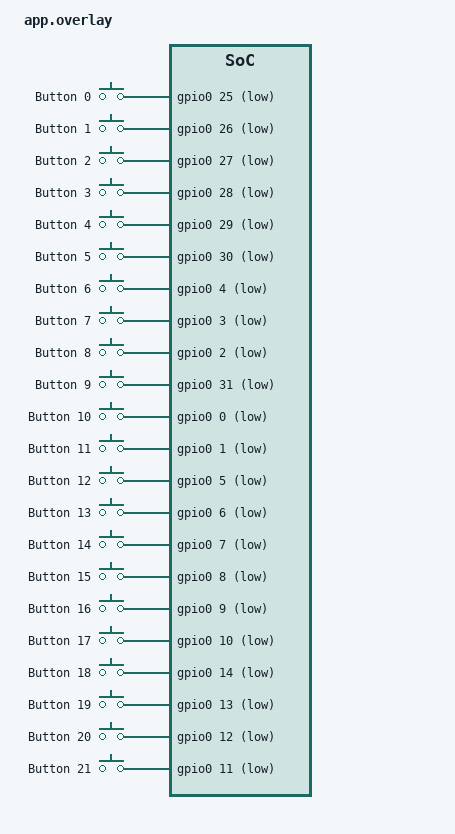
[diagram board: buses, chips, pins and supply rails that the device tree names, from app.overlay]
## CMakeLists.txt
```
cmake_minimum_required(VERSION 3.20.0)

# Option to choose keyboard side (left or right)

find_package(Zephyr REQUIRED HINTS $ENV{ZEPHYR_BASE})

project(blinky)

target_sources(app PRIVATE src/main.c)
```

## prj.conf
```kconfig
# --- Enable gpio ---
CONFIG_GPIO=y

# --- Use internal clock ---
CONFIG_CLOCK_CONTROL_NRF_K32SRC_RC=y

# --- Logging ---
# To enable logging, keep these set to 'n'
CONFIG_SERIAL=n
CONFIG_LOG_BACKEND_UART=n
CONFIG_UART_CONSOLE=n
# To enable logging, set these to 'y'
CONFIG_LOG=y
CONFIG_LOG_MODE_IMMEDIATE=y
CONFIG_USE_SEGGER_RTT=y
CONFIG_LOG_BACKEND_RTT=y
CONFIG_LOG_PROCESS_THREAD=n



CONFIG_HWINFO=y
```

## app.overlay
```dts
/ {
    aliases {
        sw0 = &button0;
        sw1 = &button1;
        sw2 = &button2;
        sw3 = &button3;
        sw4 = &button4;
        sw5 = &button5;
        sw6 = &button6;
        sw7 = &button7;
        sw8 = &button8;
        sw9 = &button9;
        sw10 = &button10;
        sw11 = &button11;
        sw12 = &button12;
        sw13 = &button13;
        sw14 = &button14;
        sw15 = &button15;
        sw16 = &button16;
        sw17 = &button17;
        sw18 = &button18;
        sw19 = &button19;
        sw20 = &button20;
        sw21 = &button21;
    };

    buttons {
        compatible = "gpio-keys";

        // First row, left to right
        button0: button_0 {
            gpios = <&gpio0 25 (GPIO_ACTIVE_LOW | GPIO_PULL_UP)>;
            label = "Button 0";
        };
        button1: button_1 {
            gpios = <&gpio0 26 (GPIO_ACTIVE_LOW | GPIO_PULL_UP)>;
            label = "Button 1";
        };
        button2: button_2 {
            gpios = <&gpio0 27 (GPIO_ACTIVE_LOW | GPIO_PULL_UP)>;
            label = "Button 2";
        };
        button3: button_3 {
            gpios = <&gpio0 28 (GPIO_ACTIVE_LOW | GPIO_PULL_UP)>;
            label = "Button 3";
        };
        button4: button_4 {
            gpios = <&gpio0 29 (GPIO_ACTIVE_LOW | GPIO_PULL_UP)>;
            label = "Button 4";
        };
        button5: button_5 {
            gpios = <&gpio0 30 (GPIO_ACTIVE_LOW | GPIO_PULL_UP)>;
            label = "Button 5";
        };

        // Second row, left to right
        button6: button_6 {
            gpios = <&gpio0 4 (GPIO_ACTIVE_LOW | GPIO_PULL_UP)>;
            label = "Button 6";
        };
        button7: button_7 {
            gpios = <&gpio0 3 (GPIO_ACTIVE_LOW | GPIO_PULL_UP)>;
            label = "Button 7";
        };
        button8: button_8 {
            gpios = <&gpio0 2 (GPIO_ACTIVE_LOW | GPIO_PULL_UP)>;
            label = "Button 8";
        };
        button9: button_9 {
            gpios = <&gpio0 31 (GPIO_ACTIVE_LOW | GPIO_PULL_UP)>;
            label = "Button 9";
        };
        button10: button_10 {
            gpios = <&gpio0 0 (GPIO_ACTIVE_LOW | GPIO_PULL_UP)>;
            label = "Button 10";
        };
        button11: button_11 {
            gpios = <&gpio0 1 (GPIO_ACTIVE_LOW | GPIO_PULL_UP)>;
            label = "Button 11";
        };

        // Third row, left to right
        button12: button_12 {
            gpios = <&gpio0 5 (GPIO_ACTIVE_LOW | GPIO_PULL_UP)>;
            label = "Button 12";
        };
        button13: button_13 {
            gpios = <&gpio0 6 (GPIO_ACTIVE_LOW | GPIO_PULL_UP)>;
            label = "Button 13";
        };
        button14: button_14 {
            gpios = <&gpio0 7 (GPIO_ACTIVE_LOW | GPIO_PULL_UP)>;
            label = "Button 14";
        };
        button15: button_15 {
            gpios = <&gpio0 8 (GPIO_ACTIVE_LOW | GPIO_PULL_UP)>;
            label = "Button 15";
        };
        button16: button_16 {
            gpios = <&gpio0 9 (GPIO_ACTIVE_LOW | GPIO_PULL_UP)>;
            label = "Button 16";
        };
        button17: button_17 {
            gpios = <&gpio0 10 (GPIO_ACTIVE_LOW | GPIO_PULL_UP)>;
            label = "Button 17";
        };

        // Fourth row, left to right
        button18: button_18 {
            gpios = <&gpio0 14 (GPIO_ACTIVE_LOW | GPIO_PULL_UP)>;
            label = "Button 18";
        };
        button19: button_19 {
            gpios = <&gpio0 13 (GPIO_ACTIVE_LOW | GPIO_PULL_UP)>;
            label = "Button 19";
        };
        button20: button_20 {
            gpios = <&gpio0 12 (GPIO_ACTIVE_LOW | GPIO_PULL_UP)>;
            label = "Button 20";
        };
        button21: button_21 {
            gpios = <&gpio0 11 (GPIO_ACTIVE_LOW | GPIO_PULL_UP)>;
            label = "Button 21";
        };

    };
};

&uicr {
    nfct-pins-as-gpios;
    /delete-property/ gpio-as-nreset;
};

&gpiote {
    status = "okay";
};

&gpio0 {
    sense-edge-mask = < 0xFE007FFF >;
    status = "okay";
};

&adc {
    status = "disabled";
};

&nfct {
    status = "disabled";
};

&uart0 {
    status = "disabled";
};

&i2c0 {
    status = "disabled";
};

&i2c1 {
    status = "disabled";
};

&pwm0 {
    status = "disabled";
};

&spi0 {
    status = "disabled";
};

&spi1 {
    status = "disabled";
};

&spi2 {
    status = "disabled";
};
```

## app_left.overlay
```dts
/ {
    aliases {
        sw0 = &button0;
        sw1 = &button1;
        sw2 = &button2;
        sw3 = &button3;
        sw4 = &button4;
        sw5 = &button5;
        sw6 = &button6;
        sw7 = &button7;
        sw8 = &button8;
        sw9 = &button9;
        sw10 = &button10;
        sw11 = &button11;
        sw12 = &button12;
        sw13 = &button13;
        sw14 = &button14;
        sw15 = &button15;
        sw16 = &button16;
        sw17 = &button17;
        sw18 = &button18;
        sw19 = &button19;
        sw20 = &button20;
        sw21 = &button21;
    };

    buttons {
        compatible = "gpio-keys";

        // First row, left to right
        button0: button_0 {
            gpios = <&gpio0 30 (GPIO_ACTIVE_LOW | GPIO_PULL_UP)>;
            label = "Button 0";
        };
        button1: button_1 {
            gpios = <&gpio0 29 (GPIO_ACTIVE_LOW | GPIO_PULL_UP)>;
            label = "Button 1";
        };
        button2: button_2 {
            gpios = <&gpio0 28 (GPIO_ACTIVE_LOW | GPIO_PULL_UP)>;
            label = "Button 2";
        };
        button3: button_3 {
            gpios = <&gpio0 27 (GPIO_ACTIVE_LOW | GPIO_PULL_UP)>;
            label = "Button 3";
        };
        button4: button_4 {
            gpios = <&gpio0 26 (GPIO_ACTIVE_LOW | GPIO_PULL_UP)>;
            label = "Button 4";
        };
        button5: button_5 {
            gpios = <&gpio0 25 (GPIO_ACTIVE_LOW | GPIO_PULL_UP)>;
            label = "Button 5";
        };

        // Second row, left to right
        button6: button_6 {
            gpios = <&gpio0 1 (GPIO_ACTIVE_LOW | GPIO_PULL_UP)>;
            label = "Button 6";
        };
        button7: button_7 {
            gpios = <&gpio0 0 (GPIO_ACTIVE_LOW | GPIO_PULL_UP)>;
            label = "Button 7";
        };
        button8: button_8 {
            gpios = <&gpio0 31 (GPIO_ACTIVE_LOW | GPIO_PULL_UP)>;
            label = "Button 8";
        };
        button9: button_9 {
            gpios = <&gpio0 2 (GPIO_ACTIVE_LOW | GPIO_PULL_UP)>;
            label = "Button 9";
        };
        button10: button_10 {
            gpios = <&gpio0 3 (GPIO_ACTIVE_LOW | GPIO_PULL_UP)>;
            label = "Button 10";
        };
        button11: button_11 {
            gpios = <&gpio0 4 (GPIO_ACTIVE_LOW | GPIO_PULL_UP)>;
            label = "Button 11";
        };

        // Third row, left to right
        button12: button_12 {
            gpios = <&gpio0 10 (GPIO_ACTIVE_LOW | GPIO_PULL_UP)>;
            label = "Button 12";
        };
        button13: button_13 {
            gpios = <&gpio0 9 (GPIO_ACTIVE_LOW | GPIO_PULL_UP)>;
            label = "Button 13";
        };
        button14: button_14 {
            gpios = <&gpio0 8 (GPIO_ACTIVE_LOW | GPIO_PULL_UP)>;
            label = "Button 14";
        };
        button15: button_15 {
            gpios = <&gpio0 7 (GPIO_ACTIVE_LOW | GPIO_PULL_UP)>;
            label = "Button 15";
        };
        button16: button_16 {
            gpios = <&gpio0 6 (GPIO_ACTIVE_LOW | GPIO_PULL_UP)>;
            label = "Button 16";
        };
        button17: button_17 {
            gpios = <&gpio0 5 (GPIO_ACTIVE_LOW | GPIO_PULL_UP)>;
            label = "Button 17";
        };

        // Fourth row, left to right
        button18: button_18 {
            gpios = <&gpio0 11 (GPIO_ACTIVE_LOW | GPIO_PULL_UP)>;
            label = "Button 18";
        };
        button19: button_19 {
            gpios = <&gpio0 12 (GPIO_ACTIVE_LOW | GPIO_PULL_UP)>;
            label = "Button 19";
        };
        button20: button_20 {
            gpios = <&gpio0 13 (GPIO_ACTIVE_LOW | GPIO_PULL_UP)>;
            label = "Button 20";
        };
        button21: button_21 {
            gpios = <&gpio0 14 (GPIO_ACTIVE_LOW | GPIO_PULL_UP)>;
            label = "Button 21";
        };

    };
};

&uicr {
    nfct-pins-as-gpios;
    /delete-property/ gpio-as-nreset;
};

// &gpiote {
//     status = "okay";
// };

&gpio0 {
    // sense-edge-mask = < 0xFFFFFFFF >;
    status = "okay";
};

&adc {
    status = "disabled";
};

&nfct {
    status = "disabled";
};

&uart0 {
    status = "disabled";
};

&i2c0 {
    status = "disabled";
};

&i2c1 {
    status = "disabled";
};

&pwm0 {
    status = "disabled";
};

&spi0 {
    status = "disabled";
};

&spi1 {
    status = "disabled";
};

&spi2 {
    status = "disabled";
};
```

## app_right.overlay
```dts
/ {
    aliases {
        sw0 = &button0;
        sw1 = &button1;
        sw2 = &button2;
        sw3 = &button3;
        sw4 = &button4;
        sw5 = &button5;
        sw6 = &button6;
        sw7 = &button7;
        sw8 = &button8;
        sw9 = &button9;
        sw10 = &button10;
        sw11 = &button11;
        sw12 = &button12;
        sw13 = &button13;
        sw14 = &button14;
        sw15 = &button15;
        sw16 = &button16;
        sw17 = &button17;
        sw18 = &button18;
        sw19 = &button19;
        sw20 = &button20;
        sw21 = &button21;
    };

        buttons {
        compatible = "gpio-keys";

        // First row, left to right
        button0: button_0 {
            gpios = <&gpio0 15 (GPIO_ACTIVE_LOW | GPIO_PULL_UP)>;
            label = "Button 0";
        };
        button1: button_1 {
            gpios = <&gpio0 16 (GPIO_ACTIVE_LOW | GPIO_PULL_UP)>;
            label = "Button 1";
        };
        button2: button_2 {
            gpios = <&gpio0 17 (GPIO_ACTIVE_LOW | GPIO_PULL_UP)>;
            label = "Button 2";
        };
        button3: button_3 {
            gpios = <&gpio0 18 (GPIO_ACTIVE_LOW | GPIO_PULL_UP)>;
            label = "Button 3";
        };
        button4: button_4 {
            gpios = <&gpio0 19 (GPIO_ACTIVE_LOW | GPIO_PULL_UP)>;
            label = "Button 4";
        };
        button5: button_5 {
            gpios = <&gpio0 20 (GPIO_ACTIVE_LOW | GPIO_PULL_UP)>;
            label = "Button 5";
        };

        // Second row, left to right
        button6: button_6 {
            gpios = <&gpio0 9 (GPIO_ACTIVE_LOW | GPIO_PULL_UP)>;
            label = "Button 6";
        };
        button7: button_7 {
            gpios = <&gpio0 10 (GPIO_ACTIVE_LOW | GPIO_PULL_UP)>;
            label = "Button 7";
        };
        button8: button_8 {
            gpios = <&gpio0 14 (GPIO_ACTIVE_LOW | GPIO_PULL_UP)>;
            label = "Button 8";
        };
        button9: button_9 {
            gpios = <&gpio0 8 (GPIO_ACTIVE_LOW | GPIO_PULL_UP)>;
            label = "Button 9";
        };
        button10: button_10 {
            gpios = <&gpio0 7 (GPIO_ACTIVE_LOW | GPIO_PULL_UP)>;
            label = "Button 10";
        };
        button11: button_11 {
            gpios = <&gpio0 6 (GPIO_ACTIVE_LOW | GPIO_PULL_UP)>;
            label = "Button 11";
        };

        // Third row, left to right
        button12: button_12 {
            gpios = <&gpio0 0 (GPIO_ACTIVE_LOW | GPIO_PULL_UP)>;
            label = "Button 12";
        };
        button13: button_13 {
            gpios = <&gpio0 1 (GPIO_ACTIVE_LOW | GPIO_PULL_UP)>;
            label = "Button 13";
        };
        button14: button_14 {
            gpios = <&gpio0 2 (GPIO_ACTIVE_LOW | GPIO_PULL_UP)>;
            label = "Button 14";
        };
        button15: button_15 {
            gpios = <&gpio0 3 (GPIO_ACTIVE_LOW | GPIO_PULL_UP)>;
            label = "Button 15";
        };
        button16: button_16 {
            gpios = <&gpio0 4 (GPIO_ACTIVE_LOW | GPIO_PULL_UP)>;
            label = "Button 16";
        };
        button17: button_17 {
            gpios = <&gpio0 5 (GPIO_ACTIVE_LOW | GPIO_PULL_UP)>;
            label = "Button 17";
        };

        // Fourth row, left to right
        button18: button_18 {
            gpios = <&gpio0 31 (GPIO_ACTIVE_LOW | GPIO_PULL_UP)>;
            label = "Button 18";
        };
        button19: button_19 {
            gpios = <&gpio0 30 (GPIO_ACTIVE_LOW | GPIO_PULL_UP)>;
            label = "Button 19";
        };
        button20: button_20 {
            gpios = <&gpio0 29 (GPIO_ACTIVE_LOW | GPIO_PULL_UP)>;
            label = "Button 20";
        };
        button21: button_21 {
            gpios = <&gpio0 28 (GPIO_ACTIVE_LOW | GPIO_PULL_UP)>;
            label = "Button 21";
        };
    };
};

&uicr {
    nfct-pins-as-gpios;
    /delete-property/ gpio-as-nreset;
};

// &gpiote {
//     status = "okay";
// };

&gpio0 {
    // sense-edge-mask = < 0xFFFFFFFF >;
    status = "okay";
};

&adc {
    status = "disabled";
};

&nfct {
    status = "disabled";
};

&uart0 {
    status = "disabled";
};

&i2c0 {
    status = "disabled";
};

&i2c1 {
    status = "disabled";
};

&pwm0 {
    status = "disabled";
};

&spi0 {
    status = "disabled";
};

&spi1 {
    status = "disabled";
};

&spi2 {
    status = "disabled";
};
```

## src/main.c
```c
/*
 * Copyright (c) 2016 Intel Corporation
 *
 * SPDX-License-Identifier: Apache-2.0
 */

#include <zephyr/kernel.h>
#include <zephyr/logging/log.h>
#include <zephyr/drivers/gpio.h>
#include <zephyr/drivers/hwinfo.h>

/* 1000 msec = 1 sec */
#define SLEEP_TIME_MS   100

LOG_MODULE_REGISTER(main, LOG_LEVEL_DBG);

const struct device *port = DEVICE_DT_GET(DT_NODELABEL(gpio0));

#define NUM_BUTTONS 22
static const struct gpio_dt_spec buttons[NUM_BUTTONS] = {
    GPIO_DT_SPEC_GET(DT_ALIAS(sw0), gpios),
    GPIO_DT_SPEC_GET(DT_ALIAS(sw1), gpios),
    GPIO_DT_SPEC_GET(DT_ALIAS(sw2), gpios),
    GPIO_DT_SPEC_GET(DT_ALIAS(sw3), gpios),
    GPIO_DT_SPEC_GET(DT_ALIAS(sw4), gpios),
    GPIO_DT_SPEC_GET(DT_ALIAS(sw5), gpios),
    GPIO_DT_SPEC_GET(DT_ALIAS(sw6), gpios),
    GPIO_DT_SPEC_GET(DT_ALIAS(sw7), gpios),
    GPIO_DT_SPEC_GET(DT_ALIAS(sw8), gpios),
    GPIO_DT_SPEC_GET(DT_ALIAS(sw9), gpios),
    GPIO_DT_SPEC_GET(DT_ALIAS(sw10), gpios),
    GPIO_DT_SPEC_GET(DT_ALIAS(sw11), gpios),
    GPIO_DT_SPEC_GET(DT_ALIAS(sw12), gpios),
    GPIO_DT_SPEC_GET(DT_ALIAS(sw13), gpios),
    GPIO_DT_SPEC_GET(DT_ALIAS(sw14), gpios),
    GPIO_DT_SPEC_GET(DT_ALIAS(sw15), gpios),
    GPIO_DT_SPEC_GET(DT_ALIAS(sw16), gpios),
    GPIO_DT_SPEC_GET(DT_ALIAS(sw17), gpios),
    GPIO_DT_SPEC_GET(DT_ALIAS(sw18), gpios),
    GPIO_DT_SPEC_GET(DT_ALIAS(sw19), gpios),
    GPIO_DT_SPEC_GET(DT_ALIAS(sw20), gpios),
    GPIO_DT_SPEC_GET(DT_ALIAS(sw21), gpios),
};

void gpio_config(void)
{
	if (!device_is_ready(port)) {
		LOG_ERR("GPIO device is not ready");
		return;
	}
	for (int i = 0; i < NUM_BUTTONS; i++) {
		int err = gpio_pin_configure_dt(&buttons[i], GPIO_INPUT | GPIO_PULL_UP | GPIO_ACTIVE_LOW);
		if (err != 0) {
			LOG_ERR("Failed to configure GPIO pin %d: %d", i, err);
			continue;
		}
	}
}

int main(void)
{
	uint32_t gpio_data = 0;
	gpio_config();
	while (1) {
		gpio_data = 0;
		gpio_port_get(port, &gpio_data);
		LOG_INF("GPIO data: 0x%08X", gpio_data);
		k_msleep(SLEEP_TIME_MS);
	}
	return 0;
}
```
